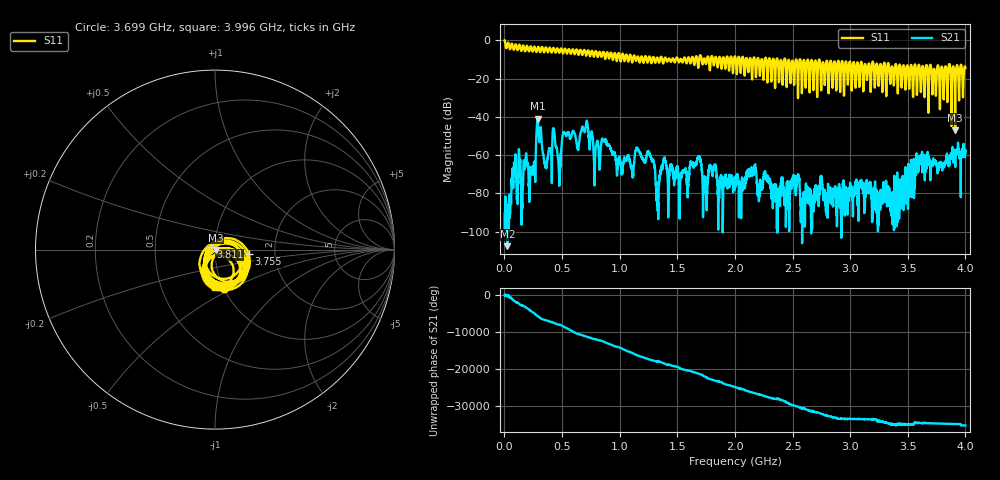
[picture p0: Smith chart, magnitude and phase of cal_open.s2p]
!Created with skrf (http://scikit-rf.org).
# GHz S RI R 50.0
!freq ReS11 ImS11 ReS21 ImS21 ReS12 ImS12 ReS22 ImS22
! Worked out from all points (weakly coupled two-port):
!   4000 points, 1 MHz to 4 GHz, reference 50 ohm
!   highest |S21| = -40.98 dB at 287 MHz (marker M1); lowest = -107.6 dB at 25 MHz (marker M2)
!   lowest |S11| = -46.9 dB at 3.911 GHz (marker M3), VSWR 1.01, Z = 50.4 - j0.172 ohm
!   |S11| at or under -10 dB: 2.437 GHz to 2.531 GHz (93.9 MHz wide, 3.78 % of centre); 2.567 GHz to 2.731 GHz (163.7 MHz wide, 6.18 % of centre); 2.732 GHz to end of sweep (the widest 3 of 48)
!   S12 and S22 are empty: the file has one direction only
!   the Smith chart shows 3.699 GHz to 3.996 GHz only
!   S11 on the Smith chart (normalised r, x): 3.699 GHz: 1.00, -0.45; 3.755 GHz: 1.46, -0.08; 3.811 GHz: 0.95, +0.03; 3.996 GHz: 0.91, -0.40
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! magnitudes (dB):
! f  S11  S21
! 1 MHz  0.0  -98.8
! 25 MHz  -2.4  -107.6
! 230 MHz  -3.3  -67.6
! 287 MHz  -4.1  -41.0
! 473 MHz  -6.3  -71.0
! 518 MHz  -5.0  -48.1
! 668 MHz  -6.2  -47.3
! 1.019 GHz  -7.6  -69.8
! 1.255 GHz  -8.5  -58.7
! 1.334 GHz  -10.2  -93.5
! 1.381 GHz  -11.6  -62.4
! 1.686 GHz  -12.5  -60.8
! 1.74 GHz  -10.3  -73.6
! 2.001 GHz  -8.5  -73.8
! 2.667 GHz  -10.4  -87.9
! 3.334 GHz  -12.4  -81.1
! 3.699 GHz  -13.1  -66.5
! 3.755 GHz  -14.4  -65.9
! 3.811 GHz  -30.9  -64.8
! 3.911 GHz  -46.9  -59.8
! 3.996 GHz  -13.5  -61.0
! 4 GHz  -14.5  -58.1
